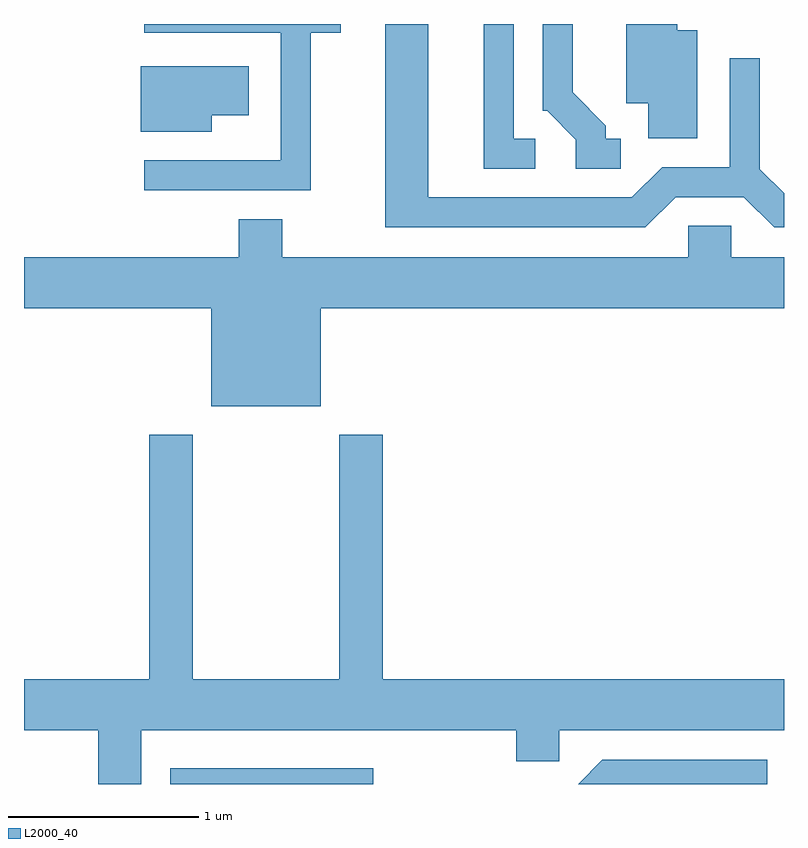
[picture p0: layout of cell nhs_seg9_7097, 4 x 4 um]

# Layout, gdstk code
import gdstk
lib = gdstk.Library(unit=1e-6, precision=1e-09)
def R(c, l, rs):  # rectangles x0, y0, x1, y1
    for r in rs: c.add(gdstk.rectangle(r[:2], r[2:], *l))
def P(c, l, *ps):  # polygons
    for p in ps: c.add(gdstk.Polygon(p, *l))
L2000_40 = (2000, 40)

nhs_seg9_7097 = lib.new_cell('nhs_seg9_7097')
R(nhs_seg9_7097, L2000_40, [(396.381,1980.432,397.449,1980.514)])
P(nhs_seg9_7097, L2000_40, [(399.042,1983.521),(399.399,1983.521),(399.559,1983.361),(399.611,1983.361),(399.611,1983.54),(399.484,1983.667),(399.484,1984.253),(399.326,1984.253),(399.326,1983.679),(398.969,1983.679),(398.809,1983.519),(397.739,1983.519),(397.739,1984.432),(397.511,1984.432),(397.511,1983.361),(398.882,1983.361)],
  [(398.753,1983.829),(398.674,1983.829),(398.674,1983.897),(398.499,1984.072),(398.499,1984.432),(398.341,1984.432),(398.341,1983.976),(398.364,1983.976),(398.516,1983.824),(398.516,1983.671),(398.753,1983.671)],
  [(399.154,1984.399),(399.049,1984.399),(399.049,1984.432),(398.781,1984.432),(398.781,1984.016),(398.896,1984.016),(398.896,1983.831),(399.154,1983.831)],
  [(397.119,1984.386),(397.279,1984.386),(397.279,1984.432),(396.243,1984.432),(396.243,1984.386),(396.961,1984.386),(396.961,1983.714),(396.243,1983.714),(396.243,1983.556),(397.119,1983.556)],
  [(398.303,1983.829),(398.189,1983.829),(398.189,1984.432),(398.031,1984.432),(398.031,1983.671),(398.303,1983.671)],
  [(396.599,1983.951),(396.794,1983.951),(396.794,1984.209),(396.226,1984.209),(396.226,1983.866),(396.599,1983.866)],
  [(397.174,1982.936),(399.611,1982.936),(399.611,1983.204),(399.334,1983.204),(399.334,1983.369),(399.106,1983.369),(399.106,1983.204),(396.969,1983.204),(396.969,1983.404),(396.741,1983.404),(396.741,1983.204),(395.611,1983.204),(395.611,1982.936),(396.596,1982.936),(396.596,1982.421),(397.174,1982.421)],
  [(396.229,1980.716),(398.201,1980.716),(398.201,1980.551),(398.429,1980.551),(398.429,1980.716),(399.611,1980.716),(399.611,1980.984),(397.499,1980.984),(397.499,1982.269),(397.271,1982.269),(397.271,1980.984),(396.499,1980.984),(396.499,1982.269),(396.271,1982.269),(396.271,1980.984),(395.611,1980.984),(395.611,1980.716),(396.001,1980.716),(396.001,1980.432),(396.229,1980.432)],
  [(399.524,1980.559),(398.654,1980.559),(398.527,1980.432),(399.524,1980.432)])

lib.write_gds('nhs_seg9_7097.gds')
